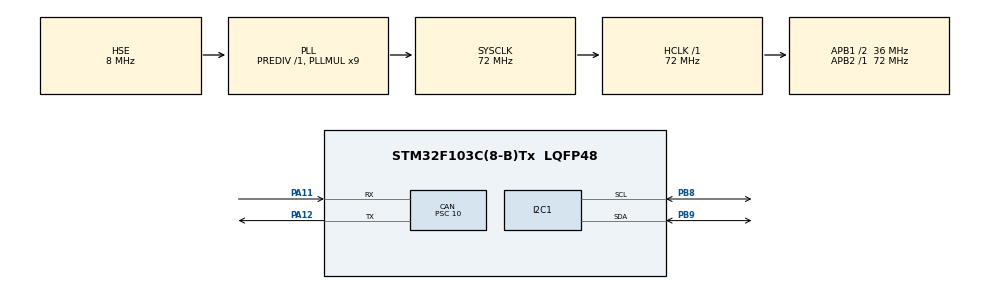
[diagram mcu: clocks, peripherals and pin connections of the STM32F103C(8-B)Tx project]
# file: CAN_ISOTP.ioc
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CAN.AWUM=ENABLE
CAN.BS1=CAN_BS1_2TQ
CAN.BS2=CAN_BS2_3TQ
CAN.CalculateBaudRate=600000
CAN.CalculateTimeBit=1666
CAN.CalculateTimeQuantum=277.77777777777777
CAN.NART=ENABLE
CAN.Prescaler=10
CAN.SJW=CAN_SJW_2TQ
FREERTOS.BinarySemaphores01=TX_Flag,Dynamic,NULL,Depleted;RX_Flag,Dynamic,NULL,Depleted
FREERTOS.Mutexes01=OLED_Mutex,Dynamic,NULL,Available
FREERTOS.Queues01=Queue_TxDatas,3,TxDatas,0,Dynamic,NULL,NULL;Queue_RxDatas,3,RxDatas,0,Dynamic,NULL,NULL
FREERTOS.Tasks01=CAN_TX,40,128,CAN_P_TX_Task,Default,NULL,Dynamic,NULL,NULL;CAN_RX,40,128,CAN_P_RX_Task,Default,NULL,Dynamic,NULL,NULL;OLED_Shows,24,256,OLED_Shows_Task,Default,NULL,Dynamic,NULL,NULL
FREERTOS.configTOTAL_HEAP_SIZE=8192
Mcu.Family=STM32F1
Mcu.Name=STM32F103C(8-B)Tx
Mcu.Package=LQFP48
NVIC.PriorityGroup=NVIC_PRIORITYGROUP_4
NVIC.TIM4_IRQn=true\:15\:0\:false\:false\:true\:false\:false\:true\:true
NVIC.TimeBase=TIM4_IRQn
NVIC.TimeBaseIP=TIM4
NVIC.USB_HP_CAN1_TX_IRQn=true\:5\:0\:false\:false\:true\:true\:true\:true\:true
NVIC.USB_LP_CAN1_RX0_IRQn=true\:5\:0\:false\:false\:true\:true\:true\:true\:true
PA11.Mode=CAN_Activate
PA11.Signal=CAN_RX
PA12.Mode=CAN_Activate
PA12.Signal=CAN_TX
PA13.Mode=Serial_Wire
PA13.Signal=SYS_JTMS-SWDIO
PA14.Mode=Serial_Wire
PA14.Signal=SYS_JTCK-SWCLK
PB8.Mode=I2C
PB8.Signal=I2C1_SCL
PB9.Mode=I2C
PB9.Signal=I2C1_SDA
PD0-OSC_IN.Mode=HSE-External-Oscillator
PD0-OSC_IN.Signal=RCC_OSC_IN
PD1-OSC_OUT.Mode=HSE-External-Oscillator
PD1-OSC_OUT.Signal=RCC_OSC_OUT
ProjectManager.HeapSize=0x200
ProjectManager.StackSize=0x400
ProjectManager.TargetToolchain=CMake
RCC.AHBFreq_Value=72000000
RCC.APB1CLKDivider=RCC_HCLK_DIV2
RCC.APB1Freq_Value=36000000
RCC.APB1TimFreq_Value=72000000
RCC.APB2Freq_Value=72000000
RCC.APB2TimFreq_Value=72000000
RCC.HCLKFreq_Value=72000000
RCC.PLLMUL=RCC_PLL_MUL9
RCC.PLLSourceVirtual=RCC_PLLSOURCE_HSE
RCC.SYSCLKFreq_VALUE=72000000
RCC.SYSCLKSource=RCC_SYSCLKSOURCE_PLLCLK
RCC.USBFreq_Value=72000000
VP_FREERTOS_VS_CMSIS_V2.Mode=CMSIS_V2
VP_SYS_VS_tim4.Mode=TIM4
board=custom

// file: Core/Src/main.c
/* USER CODE BEGIN Header */
/**
  ******************************************************************************
  * @file           : main.c
  * @brief          : Main program body
  ******************************************************************************
  * @attention
  *
  * Copyright (c) 2026 STMicroelectronics.
  * All rights reserved.
  *
  * This software is licensed under terms that can be found in the LICENSE file
  * in the root directory of this software component.
  * If no LICENSE file comes with this software, it is provided AS-IS.
  *
  ******************************************************************************
  */
/* USER CODE END Header */
#include "main.h"
#include "cmsis_os.h"
#include "can.h"
#include "i2c.h"
#include "gpio.h"

/* USER CODE BEGIN PTD */

TxDatas TxHead_Data = {0};
RxDatas RxHead_Data = {0};

/* USER CODE END PTD */

/* USER CODE BEGIN PM */

/*CAN发送的数据集*/
//发送头TxHeader
CAN_TxHeaderTypeDef MsgHeader_32Mask[6] =
{
  {0x000,0x125EA3FE,CAN_ID_EXT,CAN_RTR_DATA,4, DISABLE },//
  {0x12A,0x1289AB00,CAN_ID_STD,CAN_RTR_DATA,4, DISABLE },
  {0x000,0x12A45B32,CAN_ID_EXT,CAN_RTR_DATA,4,DISABLE},
  {0x12F,0x12265AE8,CAN_ID_EXT,CAN_RTR_DATA,4,DISABLE},
  {0x000,0x1289ABFF,CAN_ID_EXT,CAN_RTR_DATA,4,DISABLE},
  {0x000,0x120556AE,CAN_ID_EXT,CAN_RTR_DATA,4,DISABLE}
};
//数据
uint8_t CAN_Transmit_Data_32Mask[6][8] =
{
  {0x11,0x22,0x33,0x44,0,0,0,0},
  {0x25,0x69,0x60,0x16,0,0,0,0},
  {0x20,0x60,0x01,0x03,0,0,0,0},
  {0x02,0x03,0x06,0x10,0,0,0,0},
  {0x21,0x52,0x31,0x24,0,0,0,0},
  {0x32,0x10,0x22,0x13,0,0,0,0}

};

CAN_TxHeaderTypeDef MsgHeader_32Mask_T[6] =
{
  {0x000,0x3A04E2AB,CAN_ID_EXT,CAN_RTR_DATA,4, DISABLE },//
  {0x43A,0x3A005A8E,CAN_ID_STD,CAN_RTR_DATA,4, DISABLE },
  {0x000,0x3A548EAC,CAN_ID_EXT,CAN_RTR_DATA,4,DISABLE},
  {0x43B,0x3A369EC2,CAN_ID_EXT,CAN_RTR_DATA,4,DISABLE},
  {0x000,0x3A89ABFF,CAN_ID_EXT,CAN_RTR_DATA,4,DISABLE},
  {0x000,0x3A0556AE,CAN_ID_EXT,CAN_RTR_DATA,4,DISABLE}
};

//数据
uint8_t CAN_Transmit_Data_32Mask_T[6][8] =
{
  {0x11,0x22,0x33,0x44,0,0,0,0},
  {0x25,0x69,0x60,0x16,0,0,0,0},
  {0x20,0x60,0x01,0x03,0,0,0,0},
  {0x02,0x03,0x06,0x10,0,0,0,0},
  {0x21,0x52,0x31,0x24,0,0,0,0},
  {0x32,0x10,0x22,0x13,0,0,0,0}

};

/* USER CODE END PM */

void SystemClock_Config(void);
void MX_FREERTOS_Init(void);

int main(void)
{

  /* MCU Configuration--------------------------------------------------------*/

  /* Reset of all peripherals, Initializes the Flash interface and the Systick. */
  HAL_Init();

  /* USER CODE BEGIN Init */

//初始化HAL，开启系统时钟，配置GPIO CAN  I2C1，初始化OLED,初始化RTOS内核，生成创建的任务，然后
//开启调度器，所有的Init函数都要在调度器开始之前。

  /* USER CODE END Init */

  /* Configure the system clock */
  SystemClock_Config();

  /* Initialize all configured peripherals */
  MX_GPIO_Init();
  MX_CAN_Init();
  MX_I2C1_Init();
  /* USER CODE BEGIN 2 */

  OLED_Init(); // Initialize the OLED display
  HAL_CAN_Init(&hcan); // Initialize the CAN peripheral CAN初始化
    /*过滤器配置*/
  HAL_CAN_Filter(); // Configure the CAN filter CAN过滤器配置

  /*启动*/
  HAL_CAN_Start(&hcan); // Start the CAN peripheral CAN启动

  /* USER CODE END 2 */

  /* Init scheduler */
  osKernelInitialize();  /* Call init function for freertos objects (in cmsis_os2.c) */
  MX_FREERTOS_Init();

  /* Start scheduler */
  osKernelStart();

  /* We should never get here as control is now taken by the scheduler */

  /* Infinite loop */
  while (1)
  {

  }
}

void SystemClock_Config(void)
{
  RCC_OscInitTypeDef RCC_OscInitStruct = {0};
  RCC_ClkInitTypeDef RCC_ClkInitStruct = {0};

  /** Initializes the RCC Oscillators according to the specified parameters
  * in the RCC_OscInitTypeDef structure.
  */
  RCC_OscInitStruct.OscillatorType = RCC_OSCILLATORTYPE_HSE;
  RCC_OscInitStruct.HSEState = RCC_HSE_ON;
  RCC_OscInitStruct.HSEPredivValue = RCC_HSE_PREDIV_DIV1;
  RCC_OscInitStruct.HSIState = RCC_HSI_ON;
  RCC_OscInitStruct.PLL.PLLState = RCC_PLL_ON;
  RCC_OscInitStruct.PLL.PLLSource = RCC_PLLSOURCE_HSE;
  RCC_OscInitStruct.PLL.PLLMUL = RCC_PLL_MUL9;
  if (HAL_RCC_OscConfig(&RCC_OscInitStruct) != HAL_OK)
  {
    Error_Handler();
  }

  /** Initializes the CPU, AHB and APB buses clocks
  */
  RCC_ClkInitStruct.ClockType = RCC_CLOCKTYPE_HCLK|RCC_CLOCKTYPE_SYSCLK
                              |RCC_CLOCKTYPE_PCLK1|RCC_CLOCKTYPE_PCLK2;
  RCC_ClkInitStruct.SYSCLKSource = RCC_SYSCLKSOURCE_PLLCLK;
  RCC_ClkInitStruct.AHBCLKDivider = RCC_SYSCLK_DIV1;
  RCC_ClkInitStruct.APB1CLKDivider = RCC_HCLK_DIV2;
  RCC_ClkInitStruct.APB2CLKDivider = RCC_HCLK_DIV1;

  if (HAL_RCC_ClockConfig(&RCC_ClkInitStruct, FLASH_LATENCY_2) != HAL_OK)
  {
    Error_Handler();
  }
}

void HAL_TIM_PeriodElapsedCallback(TIM_HandleTypeDef *htim)
{
  if (htim->Instance == TIM4)
  {
    HAL_IncTick();
  }
}

void Error_Handler(void)
{
  __disable_irq();
  while (1)
  {
  }
}

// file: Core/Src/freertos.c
/* USER CODE BEGIN Header */
/**
  ******************************************************************************
  * File Name          : freertos.c
  * Description        : Code for freertos applications
  ******************************************************************************
  * @attention
  *
  * Copyright (c) 2026 STMicroelectronics.
  * All rights reserved.
  *
  * This software is licensed under terms that can be found in the LICENSE file
  * in the root directory of this software component.
  * If no LICENSE file comes with this software, it is provided AS-IS.
  *
  ******************************************************************************
  */
/* USER CODE END Header */

#include "FreeRTOS.h"
#include "task.h"
#include "main.h"
#include "cmsis_os.h"

/* USER CODE BEGIN Includes */
#include "OLED.h"
#include <stdint.h>
#include "CAN_Driver.h"
/* USER CODE END Includes */

/* USER CODE BEGIN PM */

extern CAN_HandleTypeDef hcan;
extern uint8_t CAN_Transmit_Data_32Mask[6][8];
extern CAN_TxHeaderTypeDef MsgHeader_32Mask[6];
extern uint8_t CAN_Transmit_Data_32Mask_T[6][8];
extern CAN_TxHeaderTypeDef MsgHeader_32Mask_T[6];

/* USER CODE END PM */

/* USER CODE BEGIN Variables */
extern TxDatas TxHead_Data ;
extern RxDatas RxHead_Data ;
/* USER CODE END Variables */
/* Definitions for CAN_TX */
osThreadId_t CAN_TXHandle;
const osThreadAttr_t CAN_TX_attributes = {
  .name = "CAN_TX",
  .stack_size = 128 * 4,
  .priority = (osPriority_t) osPriorityHigh,
};
/* Definitions for CAN_RX */
osThreadId_t CAN_RXHandle;
const osThreadAttr_t CAN_RX_attributes = {
  .name = "CAN_RX",
  .stack_size = 128 * 4,
  .priority = (osPriority_t) osPriorityHigh,
};
/* Definitions for OLED_Shows */
osThreadId_t OLED_ShowsHandle;
const osThreadAttr_t OLED_Shows_attributes = {
  .name = "OLED_Shows",
  .stack_size = 256 * 4,
  .priority = (osPriority_t) osPriorityNormal,
};
/* Definitions for Queue_TxDatas */
osMessageQueueId_t Queue_TxDatasHandle;
const osMessageQueueAttr_t Queue_TxDatas_attributes = {
  .name = "Queue_TxDatas"
};
/* Definitions for Queue_RxDatas */
osMessageQueueId_t Queue_RxDatasHandle;
const osMessageQueueAttr_t Queue_RxDatas_attributes = {
  .name = "Queue_RxDatas"
};
/* Definitions for OLED_Mutex */
osMutexId_t OLED_MutexHandle;
const osMutexAttr_t OLED_Mutex_attributes = {
  .name = "OLED_Mutex"
};
/* Definitions for TX_Flag */
osSemaphoreId_t TX_FlagHandle;
const osSemaphoreAttr_t TX_Flag_attributes = {
  .name = "TX_Flag"
};
/* Definitions for RX_Flag */
osSemaphoreId_t RX_FlagHandle;
const osSemaphoreAttr_t RX_Flag_attributes = {
  .name = "RX_Flag"
};

void CAN_P_TX_Task(void *argument);
void CAN_P_RX_Task(void *argument);
void OLED_Shows_Task(void *argument);

void MX_FREERTOS_Init(void); /* (MISRA C 2004 rule 8.1) */

void MX_FREERTOS_Init(void) {
  /* Create the mutex(es) */
  /* creation of OLED_Mutex */
  OLED_MutexHandle = osMutexNew(&OLED_Mutex_attributes);

  /* Create the semaphores(s) */
  /* creation of TX_Flag */
  TX_FlagHandle = osSemaphoreNew(1, 0, &TX_Flag_attributes);

  /* creation of RX_Flag */
  RX_FlagHandle = osSemaphoreNew(1, 0, &RX_Flag_attributes);

  /* Create the queue(s) */
  /* creation of Queue_TxDatas */
  Queue_TxDatasHandle = osMessageQueueNew (3, sizeof(TxDatas), &Queue_TxDatas_attributes);

  /* creation of Queue_RxDatas */
  Queue_RxDatasHandle = osMessageQueueNew (3, sizeof(RxDatas), &Queue_RxDatas_attributes);

  /* Create the thread(s) */
  /* creation of CAN_TX */
  CAN_TXHandle = osThreadNew(CAN_P_TX_Task, NULL, &CAN_TX_attributes);

  /* creation of CAN_RX */
  CAN_RXHandle = osThreadNew(CAN_P_RX_Task, NULL, &CAN_RX_attributes);

  /* creation of OLED_Shows */
  OLED_ShowsHandle = osThreadNew(OLED_Shows_Task, NULL, &OLED_Shows_attributes);

}

void CAN_P_TX_Task(void *argument)
{
  /* USER CODE BEGIN CAN_P_TX_Task */

  /* Infinite loop */
  for(;;)
  {
      for (int i = 0; i < 6; i++) {
       HAL_CAN_ActivateNotification(&hcan, CAN_IT_TX_MAILBOX_EMPTY);//开启通知
      HAL_CAN_Transmit(&MsgHeader_32Mask_T[i], CAN_Transmit_Data_32Mask_T[i]);
      //如果发送成功中断中释放二进制信号量TX_Flag,在这里判断然后将数据加入队列中。
      osSemaphoreAcquire(TX_FlagHandle, osWaitForever);//申请信号量
      //将数据加入队列
      TxHead_Data.TxHeader.StdId = MsgHeader_32Mask_T[i].StdId;
      TxHead_Data.TxHeader.ExtId = MsgHeader_32Mask_T[i].ExtId;
      TxHead_Data.TxHeader.IDE = MsgHeader_32Mask_T[i].IDE;
      TxHead_Data.TxHeader.RTR = MsgHeader_32Mask_T[i].RTR;
      TxHead_Data.TxHeader.DLC = MsgHeader_32Mask_T[i].DLC;
      TxHead_Data.TxHeader.TransmitGlobalTime = MsgHeader_32Mask_T[i].TransmitGlobalTime;
      for (uint8_t j = 0; j < 8; j++) {
        TxHead_Data.TxData[j] = CAN_Transmit_Data_32Mask[i][j];
      }
      osMessageQueuePut(Queue_TxDatasHandle,&TxHead_Data,0,0);//将数据加入队列

      osDelay(2500);//2秒发一次
    }
    osDelay(2000);//2秒发一次

  }
  /* USER CODE END CAN_P_TX_Task */
}

void CAN_P_RX_Task(void *argument)
{
  /* USER CODE BEGIN CAN_P_RX_Task */
  CAN_RxHeaderTypeDef RxHeader;
  uint8_t RxData[8];

  /* Infinite loop */
  for(;;)
  {//接收

    HAL_CAN_ActivateNotification(&hcan, CAN_IT_RX_FIFO0_MSG_PENDING );
    //接收中断在接收邮箱有CAN报文时进入，此时中断中释放信号量，才能在这里读取
     osSemaphoreAcquire(RX_FlagHandle, osWaitForever);//申请信号量
    HAL_CAN_Receive(&RxHeader, RxData);

      RxHead_Data.RxHeader.StdId = RxHeader.StdId;
      RxHead_Data.RxHeader.ExtId = RxHeader.ExtId;
      RxHead_Data.RxHeader.IDE = RxHeader.IDE;
      RxHead_Data.RxHeader.RTR = RxHeader.RTR;
      RxHead_Data.RxHeader.DLC = RxHeader.DLC;

      for (uint8_t j = 0; j < 8; j++) {
        RxHead_Data.RxData[j] = *(RxData+j);
      }
        //入队列
      osMessageQueuePut(Queue_RxDatasHandle,&RxHead_Data,0,0);//将数据加入队列

    osDelay(1000);//100ms接收一次
  }

  /* USER CODE END CAN_P_RX_Task */
}

void OLED_Shows_Task(void *argument)
{
  /* USER CODE BEGIN OLED_Shows_Task */
  TxDatas TxData = {0};
  RxDatas RxData = {0};

  /* Infinite loop */
  for(;;)
  {
    //发送队列

    osMessageQueueGet(Queue_TxDatasHandle,&TxData,0,0);//获取发送队列数据
    if(TxData.TxHeader.IDE == CAN_ID_STD){
      OLED_ClearArea(40, 0, 88, 16);
      OLED_Printf(0, 0, OLED_8X16, "TxID: %x" ,TxData.TxHeader.StdId);
    }else{

      OLED_Printf(0, 0, OLED_8X16, "TxID: %x" ,TxData.TxHeader.ExtId);
    }
    OLED_Printf(0, 16, OLED_8X16, " %x %x %x %x " ,TxData.TxData[0],TxData.TxData[1],TxData.TxData[2],TxData.TxData[3]);
    OLED_Update();
    //接收队列数据
    osMessageQueueGet(Queue_RxDatasHandle,&RxData,0,0);//获取发送队列数据
    if(RxData.RxHeader.IDE == CAN_ID_STD){
      OLED_ClearArea(40, 32, 88, 16);
      OLED_Printf(0, 32, OLED_8X16, "RxID: %x" ,RxData.RxHeader.StdId);
    }else{

      OLED_Printf(0, 32, OLED_8X16, "RxID: %x" ,RxData.RxHeader.ExtId);
    }
    OLED_Printf(0, 48, OLED_8X16, " %x %x %x %x " ,RxData.RxData[0],RxData.RxData[1],RxData.RxData[2],RxData.RxData[3]);
    OLED_Update();
    osDelay(500);//500ms显示一次
  }
  /* USER CODE END OLED_Shows_Task */
}
